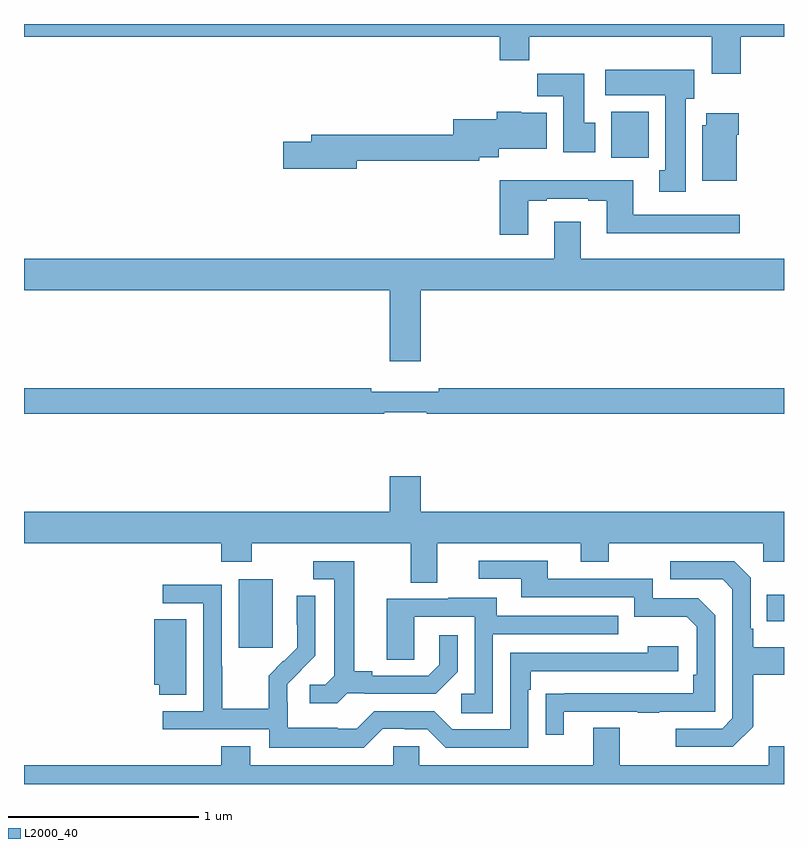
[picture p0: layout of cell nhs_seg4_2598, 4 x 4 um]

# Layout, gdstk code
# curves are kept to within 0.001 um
import gdstk
lib = gdstk.Library(unit=1e-6, precision=1e-09)
def R(c, l, rs):  # rectangles x0, y0, x1, y1
    for r in rs: c.add(gdstk.rectangle(r[:2], r[2:], *l))
def P(c, l, *ps):  # polygons
    for p in ps: c.add(gdstk.Polygon(p, *l))
L2000_40 = (2000, 40)

nhs_seg4_2598 = lib.new_cell('nhs_seg4_2598')
R(nhs_seg4_2598, L2000_40, [(248.129,781.617,248.308,781.978), (250.909,781.757,251,781.897), (250.091,784.196,250.288,784.438)])
P(nhs_seg4_2598, L2000_40, [(250.772,784.832),(251,784.832),(251,784.9),(247,784.9),(247,784.832),(249.503,784.832),(249.503,784.708),(249.659,784.708),(249.659,784.832),(250.619,784.832),(250.619,784.638),(250.772,784.638)],
  [(250.483,784.506),(250.528,784.506),(250.528,784.66),(250.059,784.66),(250.059,784.526),(250.376,784.526),(250.376,784.13),(250.343,784.13),(250.343,784.017),(250.483,784.017)],
  [(250.006,784.38),(249.949,784.38),(249.949,784.639),(249.7,784.639),(249.7,784.52),(249.839,784.52),(249.839,784.224),(250.006,784.224)],
  [(248.752,784.18),(249.395,784.18),(249.395,784.199),(249.499,784.199),(249.499,784.244),(249.751,784.244),(249.751,784.432),(249.618,784.432),(249.618,784.438),(249.488,784.438),(249.488,784.399),(249.26,784.399),(249.26,784.316),(248.513,784.316),(248.513,784.28),(248.364,784.28),(248.364,784.138),(248.752,784.138)],
  [(250.75,784.316),(250.763,784.316),(250.763,784.429),(250.592,784.429),(250.592,784.368),(250.571,784.368),(250.571,784.076),(250.75,784.076)],
  [(249.655,783.969),(249.751,783.969),(249.751,783.981),(249.971,783.981),(249.971,783.969),(250.067,783.969),(250.067,783.8),(250.768,783.8),(250.768,783.897),(250.207,783.897),(250.207,784.078),(249.503,784.078),(249.503,783.792),(249.655,783.792)],
  [(249.088,783.5),(251,783.5),(251,783.664),(249.931,783.664),(249.931,783.859),(249.791,783.859),(249.791,783.664),(247,783.664),(247,783.5),(248.924,783.5),(248.924,783.126),(249.088,783.126)],
  [(248.896,782.856),(249.121,782.856),(249.121,782.848),(251,782.848),(251,782.984),(249.184,782.984),(249.184,782.965),(248.828,782.965),(248.828,782.984),(247,782.984),(247,782.848),(248.896,782.848)],
  [(249.175,782.168),(249.929,782.168),(249.929,782.069),(250.077,782.069),(250.077,782.168),(250.89,782.168),(250.89,782.069),(251,782.069),(251,782.332),(249.088,782.332),(249.088,782.521),(248.924,782.521),(248.924,782.332),(247,782.332),(247,782.168),(248.039,782.168),(248.039,782.069),(248.199,782.069),(248.199,782.168),(249.035,782.168),(249.035,781.96),(249.175,781.96)],
  [(249.841,781.281),(250.231,781.281),(250.231,781.276),(250.343,781.276),(250.343,781.281),(250.638,781.281),(250.638,781.788),(250.548,781.878),(250.308,781.878),(250.308,781.98),(249.757,781.98),(249.757,782.076),(249.393,782.076),(249.393,781.98),(249.617,781.98),(249.617,781.884),(250.212,781.884),(250.212,781.781),(250.489,781.781),(250.542,781.728),(250.542,781.474),(250.522,781.474),(250.522,781.377),(249.745,781.376),(249.745,781.158),(249.841,781.158)],
  [(250.837,781.201),(250.837,781.474),(251,781.474),(251,781.621),(250.837,781.621),(250.837,781.717),(250.824,781.717),(250.824,781.986),(250.737,782.073),(250.401,782.073),(250.401,781.977),(250.677,781.977),(250.728,781.926),(250.728,781.245),(250.674,781.191),(250.431,781.191),(250.431,781.095),(250.731,781.095)],
  [(248.7,781.377),(248.794,781.377),(248.794,781.374),(249.166,781.374),(249.282,781.49),(249.282,781.684),(249.185,781.684),(249.185,781.527),(249.128,781.47),(248.833,781.47),(248.833,781.493),(248.737,781.493),(248.737,782.073),(248.523,782.073),(248.523,781.977),(248.633,781.977),(248.633,781.469),(248.586,781.422),(248.505,781.422),(248.505,781.325),(248.648,781.325)],
  [(248.889,781.191),(249.005,781.191),(249.005,781.188),(249.123,781.188),(249.219,781.092),(249.654,781.092),(249.654,781.397),(249.667,781.397),(249.667,781.494),(250.444,781.494),(250.444,781.624),(250.283,781.624),(250.283,781.59),(249.558,781.59),(249.558,781.188),(249.255,781.188),(249.159,781.284),(248.844,781.284),(248.751,781.191),(248.651,781.191),(248.651,781.195),(248.388,781.195),(248.388,781.329),(248.386,781.329),(248.386,781.426),(248.532,781.574),(248.532,781.892),(248.436,781.892),(248.436,781.738),(248.438,781.738),(248.438,781.616),(248.367,781.545),(248.364,781.548),(248.287,781.471),(248.287,781.297),(248.043,781.297),(248.043,781.52),(248.04,781.52),(248.04,781.95),(247.731,781.95),(247.731,781.851),(247.944,781.851),(247.944,781.284),(247.731,781.284),(247.731,781.188),(248.292,781.188),(248.292,781.091),(248.789,781.091)],
  [(249.468,781.689),(250.127,781.689),(250.127,781.785),(249.487,781.785),(249.487,781.879),(249.233,781.879),(249.233,781.875),(248.909,781.875),(248.909,781.555),(249.054,781.555),(249.054,781.779),(249.372,781.779),(249.372,781.374),(249.3,781.374),(249.3,781.273),(249.468,781.273)],
  [(247.855,781.766),(247.685,781.766),(247.685,781.422),(247.712,781.422),(247.712,781.369),(247.855,781.369)],
  [(251,781.099),(250.919,781.099),(250.919,781),(250.135,781),(250.135,781.195),(249.995,781.195),(249.995,781),(249.081,781),(249.081,781.098),(248.943,781.098),(248.943,781),(248.191,781),(248.191,781.099),(248.039,781.099),(248.039,781),(247,781),(247,780.9),(251,780.9)])

lib.write_gds('nhs_seg4_2598.gds')
